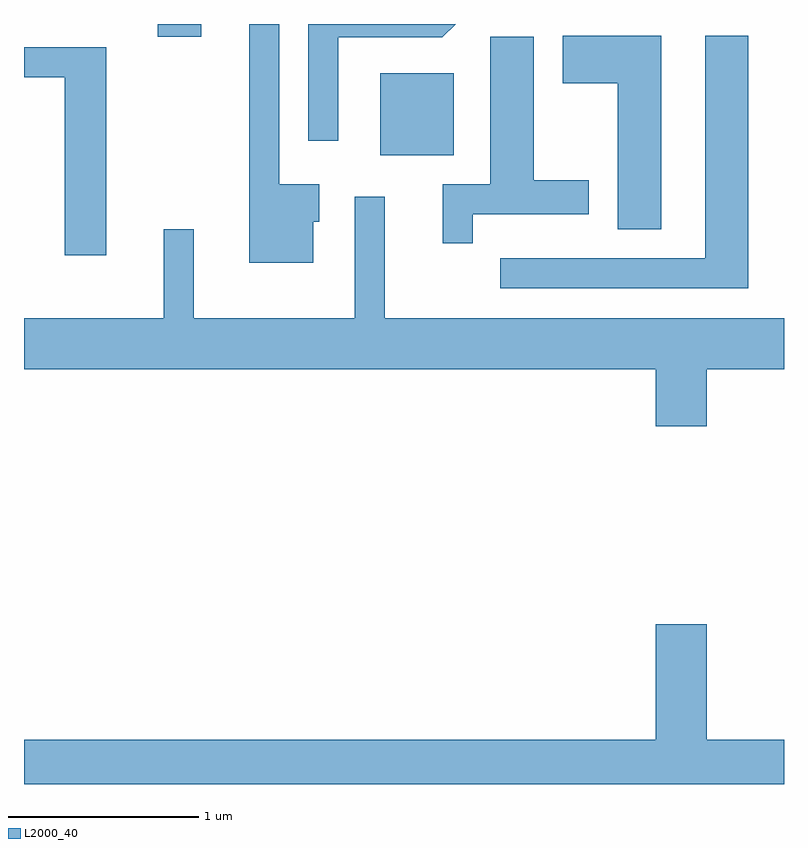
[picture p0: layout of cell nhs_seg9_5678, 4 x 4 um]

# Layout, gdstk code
import gdstk
lib = gdstk.Library(unit=1e-6, precision=1e-09)
def R(c, l, rs):  # rectangles x0, y0, x1, y1
    for r in rs: c.add(gdstk.rectangle(r[:2], r[2:], *l))
def P(c, l, *ps):  # polygons
    for p in ps: c.add(gdstk.Polygon(p, *l))
L2000_40 = (2000, 40)

nhs_seg9_5678 = lib.new_cell('nhs_seg9_5678')
R(nhs_seg9_5678, L2000_40, [(353.486,2081.741,353.874,2082.174), (352.316,2082.366,352.544,2082.432)])
P(nhs_seg9_5678, L2000_40, [(353.134,2081.391),(353.164,2081.391),(353.164,2081.589),(352.954,2081.589),(352.954,2082.432),(352.796,2082.432),(352.796,2081.176),(353.134,2081.176)],
  [(353.264,2082.361),(353.812,2082.361),(353.883,2082.432),(353.106,2082.432),(353.106,2081.818),(353.264,2081.818)],
  [(354.964,2082.369),(354.446,2082.369),(354.446,2082.121),(354.736,2082.121),(354.736,2081.351),(354.964,2081.351)],
  [(355.424,2082.369),(355.196,2082.369),(355.196,2081.199),(354.118,2081.199),(354.118,2081.041),(355.424,2081.041)],
  [(353.974,2081.431),(354.584,2081.431),(354.584,2081.609),(354.294,2081.609),(354.294,2082.364),(354.066,2082.364),(354.066,2081.589),(353.816,2081.589),(353.816,2081.278),(353.974,2081.278)],
  [(352.044,2082.309),(351.611,2082.309),(351.611,2082.151),(351.826,2082.151),(351.826,2081.216),(352.044,2081.216)],
  [(355.204,2080.616),(355.611,2080.616),(355.611,2080.884),(353.509,2080.884),(353.509,2081.523),(353.351,2081.523),(353.351,2080.884),(352.504,2080.884),(352.504,2081.353),(352.346,2081.353),(352.346,2080.884),(351.611,2080.884),(351.611,2080.616),(354.936,2080.616),(354.936,2080.316),(355.204,2080.316)],
  [(355.611,2078.664),(355.204,2078.664),(355.204,2079.274),(354.936,2079.274),(354.936,2078.664),(351.611,2078.664),(351.611,2078.432),(355.611,2078.432)])

lib.write_gds('nhs_seg9_5678.gds')
